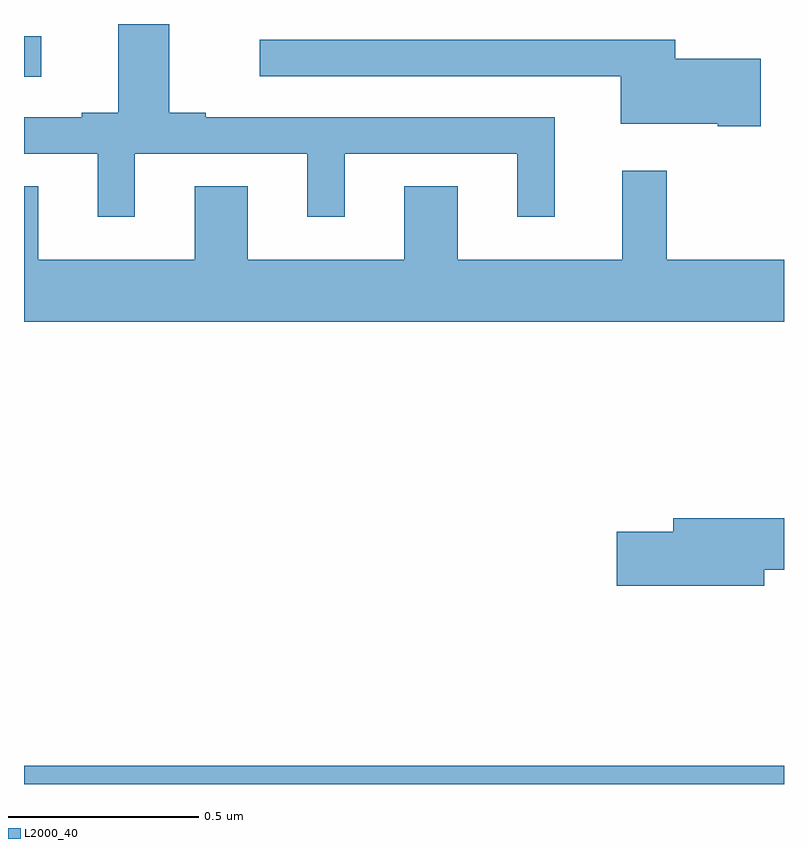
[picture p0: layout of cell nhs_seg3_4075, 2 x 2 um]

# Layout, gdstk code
import gdstk
lib = gdstk.Library(unit=1e-6, precision=1e-09)
def R(c, l, rs):  # rectangles x0, y0, x1, y1
    for r in rs: c.add(gdstk.rectangle(r[:2], r[2:], *l))
def P(c, l, *ps):  # polygons
    for p in ps: c.add(gdstk.Polygon(p, *l))
L2000_40 = (2000, 40)

nhs_seg3_4075 = lib.new_cell('nhs_seg3_4075')
R(nhs_seg3_4075, L2000_40, [(162,666.4,164,666.448), (162,668.261,162.046,668.368)])
P(nhs_seg3_4075, L2000_40, [(162.292,668.058),(162.746,668.058),(162.746,667.893),(162.844,667.893),(162.844,668.058),(163.298,668.058),(163.298,667.893),(163.397,667.893),(163.397,668.154),(162.478,668.154),(162.478,668.167),(162.382,668.167),(162.382,668.4),(162.248,668.4),(162.248,668.167),(162.152,668.167),(162.152,668.154),(162,668.154),(162,668.058),(162.194,668.058),(162.194,667.893),(162.292,667.893)],
  [(163.939,668.309),(163.714,668.309),(163.714,668.359),(162.621,668.359),(162.621,668.262),(163.571,668.262),(163.571,668.138),(163.826,668.138),(163.826,668.131),(163.939,668.131)],
  [(164,667.78),(163.691,667.78),(163.691,668.014),(163.574,668.014),(163.574,667.78),(163.141,667.78),(163.141,667.973),(163.001,667.973),(163.001,667.78),(162.589,667.78),(162.589,667.973),(162.449,667.973),(162.449,667.78),(162.037,667.78),(162.037,667.973),(162,667.973),(162,667.616),(164,667.616)],
  [(163.948,666.964),(164,666.964),(164,667.1),(163.709,667.1),(163.709,667.064),(163.56,667.064),(163.56,666.922),(163.948,666.922)])

lib.write_gds('nhs_seg3_4075.gds')
